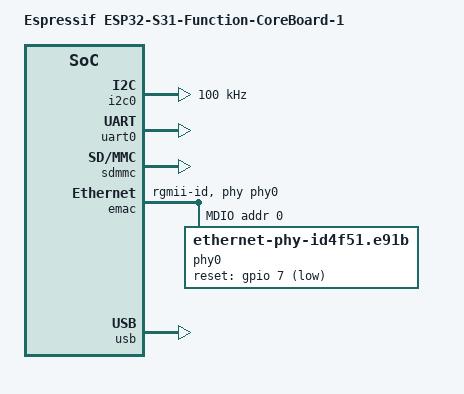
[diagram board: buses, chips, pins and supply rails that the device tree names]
// SPDX-License-Identifier: (GPL-2.0 OR MIT)
/*
 * Espressif ESP32-S31 Function Core Board 1 board-level description.
 *
 * Keep physical wiring, pin assignments, model, aliases and permanently
 * fitted peripheral enablement here.
 *
 * SoC-invariant resources belong in esp32s31.dtsi; use-case- and
 * test-specific changes belong in .dtso overlays.
 */

/dts-v1/;

#include "esp32s31.dtsi"

/ {
	model = "Espressif ESP32-S31-Function-CoreBoard-1";

	aliases {
		ethernet0 = &emac;
		i2c0 = &i2c0;
		mmc0 = &sdmmc;
		serial0 = &uart0;
	};
};

&espfunc {
	/* I2C0: SDA on GPIO51 and SCL on GPIO50. */
	i2c0_pins: i2c0-pins {
		pinmux = <ESP_PINMUX(51, ESP_FUNC_S31_I2C0_SDA_ID)>,
			 <ESP_PINMUX(50, ESP_FUNC_S31_I2C0_SCL_ID)>;

		input-enable;
		bias-pull-up;
		drive-strength = <5>;
		drive-open-drain;
	};

	emac_pins: emac-pins {
		pinmux =
			/* MDC, MDIO */
			<ESP_PINMUX(5, ESP_FUNC_S31_GMII_MDC_ID)>,
			<ESP_PINMUX(6, ESP_FUNC_S31_GMII_MDIO_ID)>,
			/* TXD0-3, TX_CTL, TX_CLK */
			<ESP_PINMUX(8, ESP_FUNC_S31_GMAC_ID)>,
			<ESP_PINMUX(9, ESP_FUNC_S31_GMAC_ID)>,
			<ESP_PINMUX(10, ESP_FUNC_S31_GMAC_ID)>,
			<ESP_PINMUX(11, ESP_FUNC_S31_GMAC_ID)>,
			<ESP_PINMUX(12, ESP_FUNC_S31_GMAC_ID)>,
			<ESP_PINMUX(13, ESP_FUNC_S31_GMAC_ID)>,
			/* RX_CLK, RX_CTL, RXD3-0 */
			<ESP_PINMUX(14, ESP_FUNC_S31_GMAC_ID)>,
			<ESP_PINMUX(15, ESP_FUNC_S31_GMAC_ID)>,
			<ESP_PINMUX(16, ESP_FUNC_S31_GMAC_ID)>,
			<ESP_PINMUX(17, ESP_FUNC_S31_GMAC_ID)>,
			<ESP_PINMUX(18, ESP_FUNC_S31_GMAC_ID)>,
			<ESP_PINMUX(19, ESP_FUNC_S31_GMAC_ID)>;

		input-enable;
		bias-disable;
		drive-strength = <20>;
	};

	sdmmc_data_pins: sdmmc-data-pins {
		pinmux = <ESP_PINMUX(20, ESP_FUNC_S31_SDMMC_ID)>,
			 <ESP_PINMUX(21, ESP_FUNC_S31_SDMMC_ID)>,
			 <ESP_PINMUX(22, ESP_FUNC_S31_SDMMC_ID)>,
			 <ESP_PINMUX(23, ESP_FUNC_S31_SDMMC_ID)>,
			 <ESP_PINMUX(25, ESP_FUNC_S31_SDMMC_ID)>;

		input-enable;
		bias-pull-up;
		drive-strength = <20>;
	};

	sdmmc_clk_pin: sdmmc-clk-pin {
		pinmux = <ESP_PINMUX(24, ESP_FUNC_S31_SDMMC_ID)>;

		bias-disable;
		drive-strength = <20>;
	};
};

&i2c0 {
	pinctrl-names = "default";
	pinctrl-0 = <&i2c0_pins>;
	clock-frequency = <100000>;
	status = "okay";
};

&uart0 {
	status = "okay";
};

&sdmmc {
	pinctrl-names = "default";
	pinctrl-0 = <&sdmmc_data_pins>, <&sdmmc_clk_pin>;
	status = "okay";
};

&emac {
	phy-mode = "rgmii-id";
	phy-handle = <&phy0>;
	pinctrl-names = "default";
	pinctrl-0 = <&emac_pins>;
	status = "okay";

	mdio {
		compatible = "snps,dwmac-mdio";
		#address-cells = <1>;
		#size-cells = <0>;

		/* Motorcomm YT8531 (IDR1 0x4f51, IDR2 0xe91b). */
		phy0: ethernet-phy@0 {
			compatible = "ethernet-phy-id4f51.e91b";
			reg = <0>;
			reset-gpios = <&gpio 7 GPIO_ACTIVE_LOW>;
			reset-assert-us = <10000>;
			reset-deassert-us = <500000>;
		};
	};
};

&usb {
	status = "okay";
};
